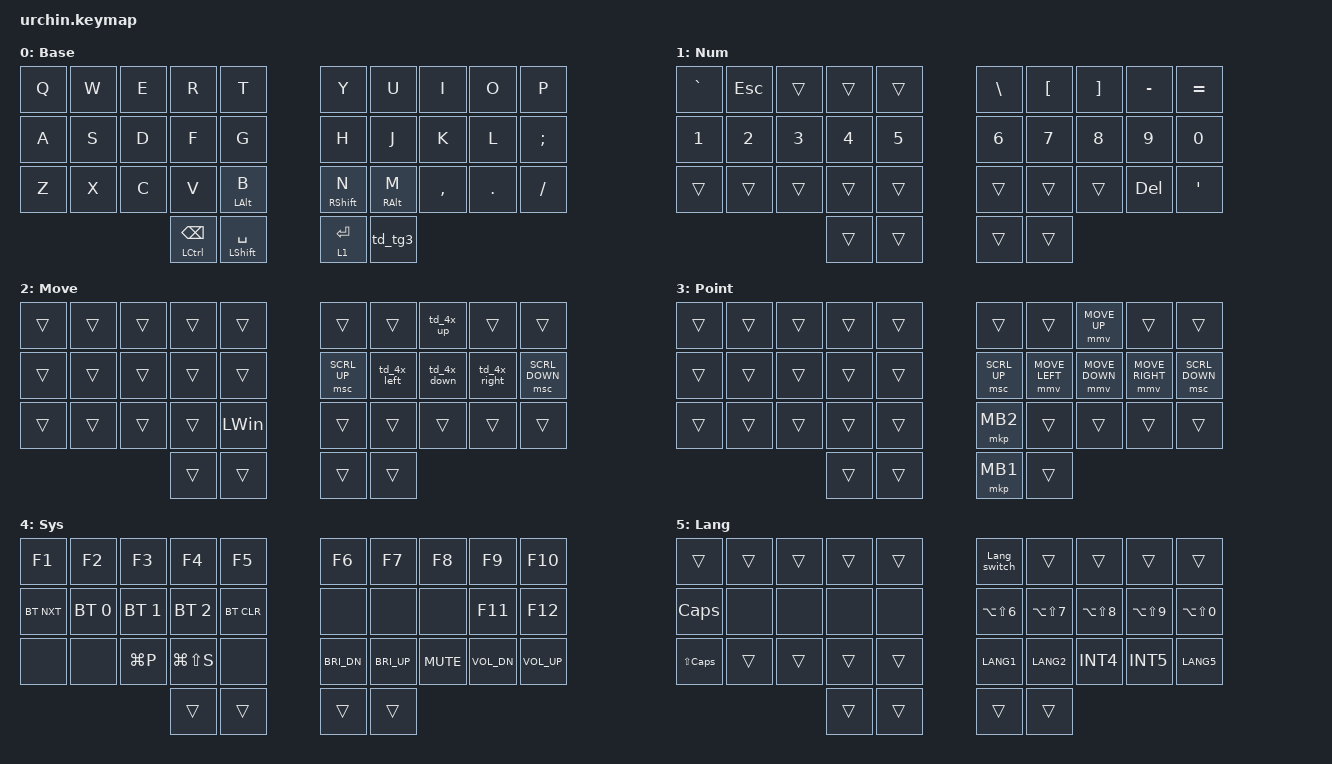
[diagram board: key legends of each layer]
/*
 * Copyright (c) 2020 duckyb
 *
 * SPDX-License-Identifier: MIT
 */

#include <behaviors.dtsi>
#include <dt-bindings/zmk/bt.h>
#include <dt-bindings/zmk/keys.h>
#include <dt-bindings/zmk/pointing.h>

// Layer definitions

#define BASE 0
#define NUM 1
#define MOVE 2
#define POINT 3
#define SETTINGS 4
#define LANG 5


 / {
    behaviors {
        ht: hold_tap {
            compatible = "zmk,behavior-hold-tap";
            #binding-cells = <2>;
            flavor = "tap-preferred";
            tapping-term-ms = <200>;
            quick-tap-ms = <150>;
            require-prior-idle-ms = <100>;
            bindings = <&kp>, <&kp>;
        };

        td_tg3: tap_toggle_3 {
            compatible = "zmk,behavior-tap-dance";
            #binding-cells = <0>;
            tapping-term-ms = <100>;
            bindings = <&lt 2 TAB>, <&tog 3>;
        };

        td_4x_up: tap_4x_up {
            compatible = "zmk,behavior-tap-dance";
            #binding-cells = <0>;
            tapping-term-ms = <100>;
            bindings = <&kp UP>, <&U_4x>;
        };

        td_4x_down: tap_4x_down {
            compatible = "zmk,behavior-tap-dance";
            #binding-cells = <0>;
            tapping-term-ms = <100>;
            bindings = <&kp DOWN>, <&D_4x>;
        };

        td_4x_left: tap_4x_left {
            compatible = "zmk,behavior-tap-dance";
            #binding-cells = <0>;
            tapping-term-ms = <100>;
            bindings = <&kp LEFT>, <&L_4x>;
        };

        td_4x_right: tap_4x_right {
            compatible = "zmk,behavior-tap-dance";
            #binding-cells = <0>;
            tapping-term-ms = <100>;
            bindings = <&kp RIGHT>, <&R_4x>;
        };

    };

    macros {
        D_4x: D_4x {
            compatible = "zmk,behavior-macro";
            #binding-cells = <0>;
            bindings = <&kp DOWN &kp DOWN &kp DOWN &kp DOWN>;
            label = "D_4x";
        };

        U_4x: U_4x {
            compatible = "zmk,behavior-macro";
            #binding-cells = <0>;
            bindings = <&kp UP &kp UP &kp UP &kp UP>;
            label = "U_4x";
        };

        L_4x: L_4x {
            compatible = "zmk,behavior-macro";
            #binding-cells = <0>;
            bindings = <&kp LEFT &kp LEFT &kp LEFT &kp LEFT>;
            label = "L_4x";
        };

        R_4x: R_4x {
            compatible = "zmk,behavior-macro";
            #binding-cells = <0>;
            bindings = <&kp RIGHT &kp RIGHT &kp RIGHT &kp RIGHT>;
            label = "R_4x";
        };

        Lang_switch: L_switch {
            compatible = "zmk,behavior-macro";
            #binding-cells = <0>;
            bindings = 
                <&macro_press>, <&kp LALT>,
                <&macro_tap>, <&kp LSHIFT>,
                <&macro_release>, <&kp LALT>;
            label = "L_switch";
        };    
    };

    combos {
        compatible = "zmk,combos";

        combo_esc {
            bindings = <&kp ESCAPE>;
            key-positions = <16 17>;
            layers = <0 1 4 5>;
        };

        Switch_L4 {
            bindings = <&tog 4>;
            key-positions = <30 31>;
        };

        Switch_L5 {
            bindings = <&sl 5>;
            key-positions = <31 32>;
        };

        Go_home {
            bindings = <&kp HOME>;
            key-positions = <16 29>;
            layers = <2>;
        };

        Go_end {
            bindings = <&kp END>;
            key-positions = <18 29>;
            layers = <2>;
        };

        Go_pg_up {
            bindings = <&kp PAGE_UP>;
            key-positions = <7 29>;
            layers = <2>;
        };

        Go_pg_down {
            bindings = <&kp PAGE_DOWN>;
            key-positions = <17 29>;
            layers = <2>;
        };

        Sys_reset {
            bindings = <&sys_reset>;
            key-positions = <20 24>;
            layers = <4>;
        };

        Bootloader {
            bindings = <&bootloader>;
            key-positions = <21 24>;
            layers = <4>;
        };
    };

    keymap {
    compatible = "zmk,keymap";

    // Base alpha layer

    default {
        label = "Base";
        bindings = <
        &kp Q       &kp W       &kp E   &kp R          &kp T               &kp Y           &kp U            &kp I           &kp O           &kp P 
        &kp A       &kp S       &kp D   &kp F          &kp G               &kp H           &kp J            &kp K           &kp L           &kp SEMICOLON
        &kp Z       &kp X       &kp C   &kp V          &mt LALT B          &mt RSHIFT N    &mt RALT M       &kp COMMA       &kp DOT         &kp SLASH
                                        &mt LCTRL BSPC &mt LSHIFT SPACE    &lt 1 ENTER     &td_tg3
        >;
    };

    // Numbers and symbols

    num_sym {
        label = "Num";
        bindings = <
        &kp GRAVE   &kp ESC     &trans  &trans          &trans         &kp BSLH        &kp LBKT         &kp RBKT        &kp MINUS       &kp EQUAL 
        &kp N1      &kp N2      &kp N3  &kp N4          &kp N5         &kp N6          &kp N7           &kp N8          &kp N9          &kp N0
        &trans      &trans      &trans  &trans          &trans         &trans          &trans           &trans          &kp DEL         &kp APOS
                                        &trans          &trans         &trans          &trans
        >;
    };

    // moves cursor

    move {
        label = "Move";
        bindings = <
        &trans      &trans      &trans   &trans          &trans        &trans           &trans          &td_4x_up      &trans         &trans
        &trans      &trans      &trans   &trans          &trans        &msc SCRL_UP     &td_4x_left     &td_4x_down    &td_4x_right   &msc SCRL_DOWN 
        &trans      &trans      &trans   &trans          &kp LWIN      &trans           &trans          &trans         &trans         &trans 
                                         &trans          &trans        &trans           &trans
        >;
    };

    // mouse pointing

    pointing {
        label = "Point";
        bindings = <
        &trans      &trans      &trans   &trans          &trans        &trans           &trans          &mmv MOVE_UP      &trans            &trans
        &trans      &trans      &trans   &trans          &trans        &msc SCRL_UP     &mmv MOVE_LEFT  &mmv MOVE_DOWN    &mmv MOVE_RIGHT   &msc SCRL_DOWN
        &trans      &trans      &trans   &trans          &trans        &mkp MB2         &trans          &trans            &trans            &trans 
                                         &trans          &trans        &mkp MB1         &trans
        >;

    };

    // bluetooth, system, and functions

    system {
        label = "Sys";
        bindings = <
        &kp F1      &kp F2          &kp F3          &kp F4              &kp F5            &kp F6          &kp F7          &kp F8          &kp F9          &kp F10
        &bt BT_NXT  &bt BT_SEL 0    &bt BT_SEL 1    &bt BT_SEL 2        &bt BT_CLR        &none           &none           &none           &kp F11         &kp F12  
        &none       &none           &kp LG(P)       &kp LG(LS(S))       &none             &kp C_BRI_DN    &kp C_BRI_UP    &kp C_MUTE      &kp C_VOL_DN    &kp C_VOL_UP
                                                    &trans              &trans            &trans          &trans
        >; 
    };

    // language settings

    language {
        label = "Lang";
        bindings = <
        &trans          &trans      &trans          &trans          &trans      &Lang_switch    &trans         &trans          &trans          &trans
        &kp CAPS        &none       &none           &none           &none       &kp LA(LS(6))   &kp LA(LS(7))  &kp LA(LS(8))   &kp LA(LS(9))   &kp LA(LS(0))
        &kp LS(CAPS)    &trans      &trans          &trans          &trans      &kp LANG1       &kp LANG2      &kp INT4       &kp INT5       &kp LANG5
                                                    &trans          &trans      &trans          &trans
        >;
    };
 };
 };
